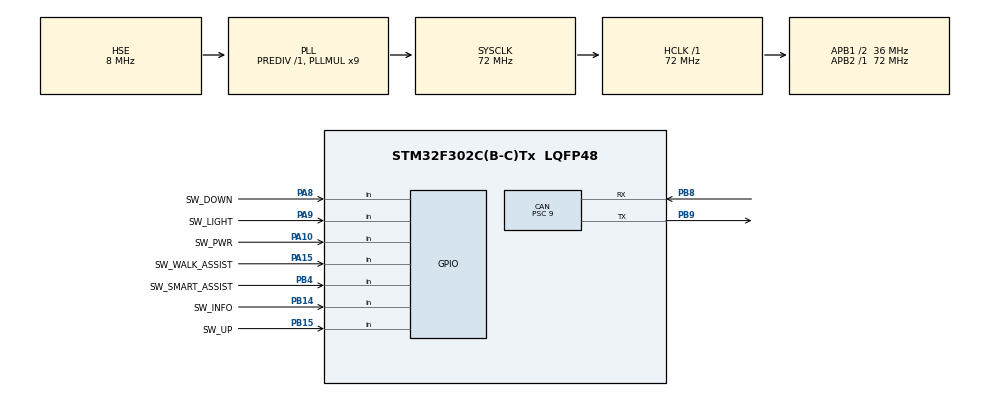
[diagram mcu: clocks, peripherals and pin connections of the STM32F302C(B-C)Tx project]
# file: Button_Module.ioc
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CAN.BS1=CAN_BS1_3TQ
CAN.BS2=CAN_BS2_4TQ
CAN.CalculateBaudRate=500000
CAN.CalculateTimeBit=2000
CAN.CalculateTimeQuantum=250.0
CAN.NART=ENABLE
CAN.Prescaler=9
CAN.SJW=CAN_SJW_3TQ
Mcu.Family=STM32F3
Mcu.Name=STM32F302C(B-C)Tx
Mcu.Package=LQFP48
NVIC.CAN_RX1_IRQn=true\:0\:0\:false\:false\:true\:true\:true\:true
NVIC.PriorityGroup=NVIC_PRIORITYGROUP_4
NVIC.USB_HP_CAN_TX_IRQn=true\:0\:0\:false\:false\:true\:true\:true\:true
NVIC.USB_LP_CAN_RX0_IRQn=true\:0\:0\:false\:false\:true\:true\:true\:true
PA10.GPIO_Label=SW_PWR
PA10.Signal=GPIO_Input
PA13.Mode=Trace_Asynchronous_SW
PA13.Signal=SYS_JTMS-SWDIO
PA14.Mode=Trace_Asynchronous_SW
PA14.Signal=SYS_JTCK-SWCLK
PA15.GPIO_Label=SW_WALK_ASSIST
PA15.GPIO_PuPd=GPIO_PULLUP
PA15.Signal=GPIO_Input
PA8.GPIO_Label=SW_DOWN
PA8.GPIO_PuPd=GPIO_PULLUP
PA8.Signal=GPIO_Input
PA9.GPIO_Label=SW_LIGHT
PA9.GPIO_PuPd=GPIO_PULLUP
PA9.Signal=GPIO_Input
PB14.GPIO_Label=SW_INFO
PB14.GPIO_PuPd=GPIO_PULLUP
PB14.Signal=GPIO_Input
PB15.GPIO_Label=SW_UP
PB15.GPIO_PuPd=GPIO_PULLUP
PB15.Signal=GPIO_Input
PB3.Mode=Trace_Asynchronous_SW
PB3.Signal=SYS_JTDO-TRACESWO
PB4.GPIO_Label=SW_SMART_ASSIST
PB4.GPIO_PuPd=GPIO_PULLUP
PB4.Signal=GPIO_Input
PB8.GPIO_FM8=SYSCFG_CFGR1_I2C_PB8_FMP
PB8.Mode=CAN_Activate
PB8.Signal=CAN_RX
PB9.GPIO_FM9=SYSCFG_CFGR1_I2C_PB9_FMP
PB9.Mode=CAN_Activate
PB9.Signal=CAN_TX
PF0-OSC_IN.Mode=HSE-External-Oscillator
PF0-OSC_IN.Signal=RCC_OSC_IN
PF1-OSC_OUT.Mode=HSE-External-Oscillator
PF1-OSC_OUT.Signal=RCC_OSC_OUT
ProjectManager.HeapSize=0x200
ProjectManager.StackSize=0x400
ProjectManager.TargetToolchain=MDK-ARM V5
RCC.AHBFreq_Value=72000000
RCC.APB1CLKDivider=RCC_HCLK_DIV2
RCC.APB1Freq_Value=36000000
RCC.APB1TimFreq_Value=72000000
RCC.APB2Freq_Value=72000000
RCC.APB2TimFreq_Value=72000000
RCC.CortexFreq_Value=72000000
RCC.HCLKFreq_Value=72000000
RCC.HSE_VALUE=8000000
RCC.HSI_VALUE=8000000
RCC.LSE_VALUE=32768
RCC.PLLMUL=RCC_PLL_MUL9
RCC.PLLSourceVirtual=RCC_PLLSOURCE_HSE
RCC.SYSCLKFreq_VALUE=72000000
RCC.SYSCLKSourceVirtual=RCC_SYSCLKSOURCE_PLLCLK
RCC.USBFreq_Value=72000000
board=custom

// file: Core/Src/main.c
/* USER CODE BEGIN Header */
/**
  ******************************************************************************
  * @file           : main.c
  * @brief          : Main program body
  ******************************************************************************
  * @attention
  *
  * Copyright (c) 2023 STMicroelectronics.
  * All rights reserved.
  *
  * This software is licensed under terms that can be found in the LICENSE file
  * in the root directory of this software component.
  * If no LICENSE file comes with this software, it is provided AS-IS.
  *
  ******************************************************************************
  */
/* USER CODE END Header */
#include "main.h"

/* USER CODE BEGIN Includes */

#include "button.h"
/* USER CODE END Includes */

CAN_HandleTypeDef hcan;

uint8_t T_1ms;

void SystemClock_Config(void);
static void MX_GPIO_Init(void);
static void MX_CAN_Init(void);

/* USER CODE BEGIN 0 */

void button_gpio_status_handler(uint8_t gpio_num, ButtonStatusDefinition_t *button_status){

  if(gpio_num == 0){
      // INFO
      if(HAL_GPIO_ReadPin(SW_INFO_GPIO_Port,SW_INFO_Pin) == GPIO_PIN_RESET)
        *button_status = BUTTON_STATUS_PRESSED;
      else
        *button_status = BUTTON_STATUS_RELEASE;
  }

  if(gpio_num == 1){
      // UP
      if(HAL_GPIO_ReadPin(SW_UP_GPIO_Port,SW_UP_Pin) == GPIO_PIN_RESET)
        *button_status = BUTTON_STATUS_PRESSED;
      else
        *button_status = BUTTON_STATUS_RELEASE;
  }

  if(gpio_num == 2){
      // DOWN
      if(HAL_GPIO_ReadPin(SW_DOWN_GPIO_Port,SW_DOWN_Pin) == GPIO_PIN_RESET)
        *button_status = BUTTON_STATUS_PRESSED;
      else
        *button_status = BUTTON_STATUS_RELEASE;
  }

  if(gpio_num == 3){
      // LIGHT
      if(HAL_GPIO_ReadPin(SW_LIGHT_GPIO_Port,SW_LIGHT_Pin) == GPIO_PIN_RESET)
        *button_status = BUTTON_STATUS_PRESSED;
      else
        *button_status = BUTTON_STATUS_RELEASE;
  }

  if(gpio_num == 4){
      // PWR
      if(HAL_GPIO_ReadPin(SW_PWR_GPIO_Port,SW_PWR_Pin) == GPIO_PIN_RESET)
        *button_status = BUTTON_STATUS_PRESSED;
      else
        *button_status = BUTTON_STATUS_RELEASE;
  }

  if(gpio_num == 5){
      // WALK_ASSIST
      if(HAL_GPIO_ReadPin(SW_WALK_ASSIST_GPIO_Port,SW_WALK_ASSIST_Pin) == GPIO_PIN_RESET)
        *button_status = BUTTON_STATUS_PRESSED;
      else
        *button_status = BUTTON_STATUS_RELEASE;
  }

  if(gpio_num == 6){
      // SMART_ASSIST
      if(HAL_GPIO_ReadPin(SW_SMART_ASSIST_GPIO_Port,SW_SMART_ASSIST_Pin) == GPIO_PIN_RESET)
        *button_status = BUTTON_STATUS_PRESSED;
      else
        *button_status = BUTTON_STATUS_RELEASE;
  }

  __ASM("NOP");
}

void button_event_handler(uint8_t gpio_num, ButtonPressType_t *btn_press_type, ButtonComboStatus_t *btn_combo_status){

   __ASM("NOP");
}

/* USER CODE END 0 */

int main(void)
{

  /* MCU Configuration--------------------------------------------------------*/

  /* Reset of all peripherals, Initializes the Flash interface and the Systick. */
  HAL_Init();

  /* Configure the system clock */
  SystemClock_Config();

  /* Initialize all configured peripherals */
  MX_GPIO_Init();
  MX_CAN_Init();
  /* USER CODE BEGIN 2 */

	button_initial(BUTTON_AMOUNT_7, button_gpio_status_handler, button_event_handler);
  /* USER CODE END 2 */

  /* Infinite loop */
  /* USER CODE BEGIN WHILE */
  while (1)
  {

		if(T_1ms){
			T_1ms = 0;

			button_process();
		}

		__ASM("NOP");
    /* USER CODE END WHILE */

  }
}

void SystemClock_Config(void)
{
  RCC_OscInitTypeDef RCC_OscInitStruct = {0};
  RCC_ClkInitTypeDef RCC_ClkInitStruct = {0};

  /** Initializes the RCC Oscillators according to the specified parameters
  * in the RCC_OscInitTypeDef structure.
  */
  RCC_OscInitStruct.OscillatorType = RCC_OSCILLATORTYPE_HSE;
  RCC_OscInitStruct.HSEState = RCC_HSE_ON;
  RCC_OscInitStruct.HSEPredivValue = RCC_HSE_PREDIV_DIV1;
  RCC_OscInitStruct.HSIState = RCC_HSI_ON;
  RCC_OscInitStruct.PLL.PLLState = RCC_PLL_ON;
  RCC_OscInitStruct.PLL.PLLSource = RCC_PLLSOURCE_HSE;
  RCC_OscInitStruct.PLL.PLLMUL = RCC_PLL_MUL9;
  if (HAL_RCC_OscConfig(&RCC_OscInitStruct) != HAL_OK)
  {
    Error_Handler();
  }

  /** Initializes the CPU, AHB and APB buses clocks
  */
  RCC_ClkInitStruct.ClockType = RCC_CLOCKTYPE_HCLK|RCC_CLOCKTYPE_SYSCLK
                              |RCC_CLOCKTYPE_PCLK1|RCC_CLOCKTYPE_PCLK2;
  RCC_ClkInitStruct.SYSCLKSource = RCC_SYSCLKSOURCE_PLLCLK;
  RCC_ClkInitStruct.AHBCLKDivider = RCC_SYSCLK_DIV1;
  RCC_ClkInitStruct.APB1CLKDivider = RCC_HCLK_DIV2;
  RCC_ClkInitStruct.APB2CLKDivider = RCC_HCLK_DIV1;

  if (HAL_RCC_ClockConfig(&RCC_ClkInitStruct, FLASH_LATENCY_2) != HAL_OK)
  {
    Error_Handler();
  }
}

static void MX_CAN_Init(void)
{

  hcan.Instance = CAN;
  hcan.Init.Prescaler = 9;
  hcan.Init.Mode = CAN_MODE_NORMAL;
  hcan.Init.SyncJumpWidth = CAN_SJW_3TQ;
  hcan.Init.TimeSeg1 = CAN_BS1_3TQ;
  hcan.Init.TimeSeg2 = CAN_BS2_4TQ;
  hcan.Init.TimeTriggeredMode = DISABLE;
  hcan.Init.AutoBusOff = DISABLE;
  hcan.Init.AutoWakeUp = DISABLE;
  hcan.Init.AutoRetransmission = ENABLE;
  hcan.Init.ReceiveFifoLocked = DISABLE;
  hcan.Init.TransmitFifoPriority = DISABLE;
  if (HAL_CAN_Init(&hcan) != HAL_OK)
  {
    Error_Handler();
  }

}

static void MX_GPIO_Init(void)
{
  GPIO_InitTypeDef GPIO_InitStruct = {0};

  /* GPIO Ports Clock Enable */
  __HAL_RCC_GPIOF_CLK_ENABLE();
  __HAL_RCC_GPIOB_CLK_ENABLE();
  __HAL_RCC_GPIOA_CLK_ENABLE();

  /*Configure GPIO pins : SW_INFO_Pin SW_UP_Pin SW_SMART_ASSIST_Pin */
  GPIO_InitStruct.Pin = SW_INFO_Pin|SW_UP_Pin|SW_SMART_ASSIST_Pin;
  GPIO_InitStruct.Mode = GPIO_MODE_INPUT;
  GPIO_InitStruct.Pull = GPIO_PULLUP;
  HAL_GPIO_Init(GPIOB, &GPIO_InitStruct);

  /*Configure GPIO pins : SW_DOWN_Pin SW_LIGHT_Pin SW_WALK_ASSIST_Pin */
  GPIO_InitStruct.Pin = SW_DOWN_Pin|SW_LIGHT_Pin|SW_WALK_ASSIST_Pin;
  GPIO_InitStruct.Mode = GPIO_MODE_INPUT;
  GPIO_InitStruct.Pull = GPIO_PULLUP;
  HAL_GPIO_Init(GPIOA, &GPIO_InitStruct);

  /*Configure GPIO pin : SW_PWR_Pin */
  GPIO_InitStruct.Pin = SW_PWR_Pin;
  GPIO_InitStruct.Mode = GPIO_MODE_INPUT;
  GPIO_InitStruct.Pull = GPIO_NOPULL;
  HAL_GPIO_Init(SW_PWR_GPIO_Port, &GPIO_InitStruct);

}

void Error_Handler(void)
{
  __disable_irq();
  while (1)
  {
  }
}
